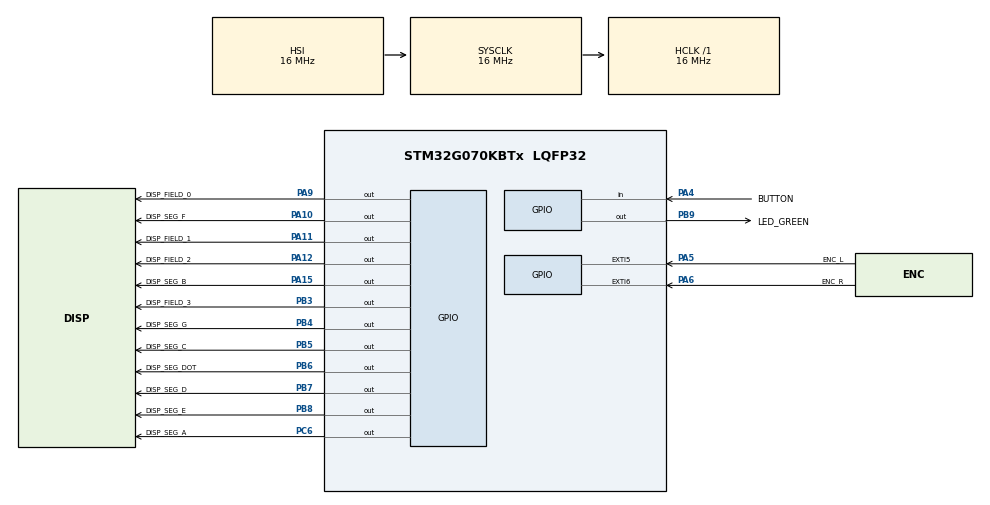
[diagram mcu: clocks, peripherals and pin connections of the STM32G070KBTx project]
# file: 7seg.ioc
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Mcu.Family=STM32G0
Mcu.Name=STM32G070KBTx
Mcu.Package=LQFP32
NVIC.EXTI4_15_IRQn=true\:0\:0\:true\:false\:true\:true\:true\:true
NVIC.TIM1_BRK_UP_TRG_COM_IRQn=true\:0\:0\:false\:false\:true\:true\:true\:true
NVIC.TIM1_CC_IRQn=true\:0\:0\:false\:false\:true\:true\:true\:true
PA10.GPIO_Label=DISP_SEG_F
PA10.Signal=GPIO_Output
PA11\ [PA9].GPIO_Label=DISP_FIELD_1
PA11\ [PA9].Signal=GPIO_Output
PA12\ [PA10].GPIO_Label=DISP_FIELD_2
PA12\ [PA10].Signal=GPIO_Output
PA13.Mode=Serial_Wire
PA13.Signal=SYS_SWDIO
PA14-BOOT0.Mode=Serial_Wire
PA14-BOOT0.Signal=SYS_SWCLK
PA15.GPIO_Label=DISP_SEG_B
PA15.Signal=GPIO_Output
PA4.GPIO_Label=BUTTON
PA4.GPIO_PuPd=GPIO_PULLUP
PA4.Signal=GPIO_Input
PA5.GPIO_Label=ENC_L
PA5.GPIO_ModeDefaultEXTI=GPIO_MODE_IT_RISING
PA5.GPIO_PuPd=GPIO_PULLUP
PA5.Signal=GPXTI5
PA6.GPIO_Label=ENC_R
PA6.GPIO_ModeDefaultEXTI=GPIO_MODE_IT_RISING
PA6.GPIO_PuPd=GPIO_PULLUP
PA6.Signal=GPXTI6
PA9.GPIO_Label=DISP_FIELD_0
PA9.Signal=GPIO_Output
PB3.GPIO_Label=DISP_FIELD_3
PB3.Signal=GPIO_Output
PB4.GPIO_Label=DISP_SEG_G
PB4.Signal=GPIO_Output
PB5.GPIO_Label=DISP_SEG_C
PB5.Signal=GPIO_Output
PB6.GPIO_Label=DISP_SEG_DOT
PB6.Signal=GPIO_Output
PB7.GPIO_Label=DISP_SEG_D
PB7.Signal=GPIO_Output
PB8.GPIO_Label=DISP_SEG_E
PB8.Signal=GPIO_Output
PB9.GPIO_Label=LED_GREEN
PB9.Signal=GPIO_Output
PC6.GPIO_Label=DISP_SEG_A
PC6.Signal=GPIO_Output
ProjectManager.HeapSize=0x200
ProjectManager.StackSize=0x400
ProjectManager.TargetToolchain=STM32CubeIDE
RCC.AHBFreq_Value=16000000
RCC.CortexFreq_Value=16000000
RCC.EXTERNAL_CLOCK_VALUE=48000
RCC.HCLKFreq_Value=16000000
RCC.HSE_VALUE=8000000
RCC.HSI_VALUE=16000000
RCC.LSE_VALUE=32768
RCC.SYSCLKFreq_VALUE=16000000
RCC.VCOOutputFreq_Value=128000000
TIM1.Period=1999
TIM1.Prescaler=40
VP_SYS_VS_DBSignals.Mode=DisableDeadBatterySignals
VP_TIM1_VS_ClockSourceINT.Mode=Internal
board=custom

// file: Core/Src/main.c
/* USER CODE BEGIN Header */
/**
 ******************************************************************************
 * @file           : main.c
 * @brief          : Main program body
 ******************************************************************************
 * @attention
 *
 * Copyright (c) 2022 STMicroelectronics.
 * All rights reserved.
 *
 * This software is licensed under terms that can be found in the LICENSE file
 * in the root directory of this software component.
 * If no LICENSE file comes with this software, it is provided AS-IS.
 *
 ******************************************************************************
 */
/* USER CODE END Header */
#include "main.h"

/* USER CODE BEGIN Includes */
#include "7seg.h"
/* USER CODE END Includes */

TIM_HandleTypeDef htim1;

/* USER CODE BEGIN PV */
//LED DISPLAY-Create Structure
LEDdisplayTypeDef disp1;

char text1[4] = { "151A" };
char text2[4] = { "HAL" };

//encoder counter
volatile uint16_t counter = 5000;
volatile uint8_t flagEncoderActive = 0;
/* USER CODE END PV */

void SystemClock_Config(void);
static void MX_GPIO_Init(void);
static void MX_TIM1_Init(void);

int main(void) {

	/* MCU Configuration--------------------------------------------------------*/

	/* Reset of all peripherals, Initializes the Flash interface and the Systick. */
	HAL_Init();

	/* Configure the system clock */
	SystemClock_Config();

	/* Initialize all configured peripherals */
	MX_GPIO_Init();
	MX_TIM1_Init();
	/* USER CODE BEGIN 2 */
	HAL_TIM_Base_Start_IT(&htim1);

	// LED DISPLAY- Pin assignment
	disp1.Field0Port = DISP_FIELD_0_GPIO_Port;
	disp1.Field0Pin = DISP_FIELD_0_Pin;
	disp1.Field1Port = DISP_FIELD_1_GPIO_Port;
	disp1.Field1Pin = DISP_FIELD_1_Pin;
	disp1.Field2Port = DISP_FIELD_2_GPIO_Port;
	disp1.Field2Pin = DISP_FIELD_2_Pin;
	disp1.Field3Port = DISP_FIELD_3_GPIO_Port;
	disp1.Field3Pin = DISP_FIELD_3_Pin;

	disp1.SegAPort = DISP_SEG_A_GPIO_Port;
	disp1.SegAPin = DISP_SEG_A_Pin;
	disp1.SegBPort = DISP_SEG_B_GPIO_Port;
	disp1.SegBPin = DISP_SEG_B_Pin;
	disp1.SegCPort = DISP_SEG_C_GPIO_Port;
	disp1.SegCPin = DISP_SEG_C_Pin;
	disp1.SegDPort = DISP_SEG_D_GPIO_Port;
	disp1.SegDPin = DISP_SEG_D_Pin;
	disp1.SegEPort = DISP_SEG_E_GPIO_Port;
	disp1.SegEPin = DISP_SEG_E_Pin;
	disp1.SegFPort = DISP_SEG_F_GPIO_Port;
	disp1.SegFPin = DISP_SEG_F_Pin;
	disp1.SegGPort = DISP_SEG_G_GPIO_Port;
	disp1.SegGPin = DISP_SEG_G_Pin;
	disp1.SegDOTPort = DISP_SEG_DOT_GPIO_Port;
	disp1.SegDOTPin = DISP_SEG_DOT_Pin;

	//set transition separator
	disp1.transitionSeparator[0] = '_';
	disp1.transitionSeparator[1] = '_';
	disp1.transitionSeparator[2] = '_';

	LEDinit(&disp1);

	/* USER CODE END 2 */

	/* Infinite loop */
	/* USER CODE BEGIN WHILE */
	while (1) {

		LEDchar(&disp1, 0, 'H');
		LEDchar(&disp1, 1, 'A');
		LEDchar(&disp1, 2, 'L');
		HAL_Delay(300);
		LEDclear(&disp1);

		LEDdot(&disp1, 0, DOT_ACTIVE);
		HAL_Delay(300);
		LEDdot(&disp1, 1, DOT_ACTIVE);
		HAL_Delay(300);
		LEDdot(&disp1, 2, DOT_ACTIVE);
		HAL_Delay(300);
		LEDdot(&disp1, 3, DOT_ACTIVE);
		HAL_Delay(300);
		LEDclear(&disp1);

		for (uint16_t i = 9000; i < 10000; i++) {
			LEDclear(&disp1);
			LEDint(&disp1, 0, i, LED_TRANSITION_DISABLED);
			HAL_Delay(1);
		}
		LEDclear(&disp1);

		LEDstr(&disp1, 0, "Err", LED_TRANSITION_DIR_LEFT);
		HAL_Delay(500);
		LEDstr(&disp1, 0, "LEd", LED_TRANSITION_DIR_RIGHT);
		HAL_Delay(500);

		LEDstr(&disp1, 0, "Err", LED_TRANSITION_DIR_LEFT);
		HAL_Delay(500);
		LEDstr(&disp1, 0, "LEd", LED_TRANSITION_DIR_RIGHT);
		HAL_Delay(500);

		LEDclear(&disp1);

		/* USER CODE END WHILE */

	}
}

void SystemClock_Config(void) {
	RCC_OscInitTypeDef RCC_OscInitStruct = { 0 };
	RCC_ClkInitTypeDef RCC_ClkInitStruct = { 0 };

	/** Configure the main internal regulator output voltage
	 */
	HAL_PWREx_ControlVoltageScaling(PWR_REGULATOR_VOLTAGE_SCALE1);
	/** Initializes the RCC Oscillators according to the specified parameters
	 * in the RCC_OscInitTypeDef structure.
	 */
	RCC_OscInitStruct.OscillatorType = RCC_OSCILLATORTYPE_HSI;
	RCC_OscInitStruct.HSIState = RCC_HSI_ON;
	RCC_OscInitStruct.HSIDiv = RCC_HSI_DIV1;
	RCC_OscInitStruct.HSICalibrationValue = RCC_HSICALIBRATION_DEFAULT;
	RCC_OscInitStruct.PLL.PLLState = RCC_PLL_NONE;
	if (HAL_RCC_OscConfig(&RCC_OscInitStruct) != HAL_OK) {
		Error_Handler();
	}
	/** Initializes the CPU, AHB and APB buses clocks
	 */
	RCC_ClkInitStruct.ClockType = RCC_CLOCKTYPE_HCLK | RCC_CLOCKTYPE_SYSCLK
			| RCC_CLOCKTYPE_PCLK1;
	RCC_ClkInitStruct.SYSCLKSource = RCC_SYSCLKSOURCE_HSI;
	RCC_ClkInitStruct.AHBCLKDivider = RCC_SYSCLK_DIV1;
	RCC_ClkInitStruct.APB1CLKDivider = RCC_HCLK_DIV1;

	if (HAL_RCC_ClockConfig(&RCC_ClkInitStruct, FLASH_LATENCY_0) != HAL_OK) {
		Error_Handler();
	}
}

static void MX_TIM1_Init(void) {

	TIM_ClockConfigTypeDef sClockSourceConfig = { 0 };
	TIM_MasterConfigTypeDef sMasterConfig = { 0 };

	htim1.Instance = TIM1;
	htim1.Init.Prescaler = 40;
	htim1.Init.CounterMode = TIM_COUNTERMODE_UP;
	htim1.Init.Period = 1999;
	htim1.Init.ClockDivision = TIM_CLOCKDIVISION_DIV1;
	htim1.Init.RepetitionCounter = 0;
	htim1.Init.AutoReloadPreload = TIM_AUTORELOAD_PRELOAD_DISABLE;
	if (HAL_TIM_Base_Init(&htim1) != HAL_OK) {
		Error_Handler();
	}
	sClockSourceConfig.ClockSource = TIM_CLOCKSOURCE_INTERNAL;
	if (HAL_TIM_ConfigClockSource(&htim1, &sClockSourceConfig) != HAL_OK) {
		Error_Handler();
	}
	sMasterConfig.MasterOutputTrigger = TIM_TRGO_RESET;
	sMasterConfig.MasterOutputTrigger2 = TIM_TRGO2_RESET;
	sMasterConfig.MasterSlaveMode = TIM_MASTERSLAVEMODE_DISABLE;
	if (HAL_TIMEx_MasterConfigSynchronization(&htim1, &sMasterConfig)
			!= HAL_OK) {
		Error_Handler();
	}

}

static void MX_GPIO_Init(void) {
	GPIO_InitTypeDef GPIO_InitStruct = { 0 };

	/* GPIO Ports Clock Enable */
	__HAL_RCC_GPIOB_CLK_ENABLE();
	__HAL_RCC_GPIOA_CLK_ENABLE();
	__HAL_RCC_GPIOC_CLK_ENABLE();

	/*Configure GPIO pin Output Level */
	HAL_GPIO_WritePin(GPIOB,
			LED_GREEN_Pin | DISP_FIELD_3_Pin | DISP_SEG_G_Pin | DISP_SEG_C_Pin
					| DISP_SEG_DOT_Pin | DISP_SEG_D_Pin | DISP_SEG_E_Pin,
			GPIO_PIN_RESET);

	/*Configure GPIO pin Output Level */
	HAL_GPIO_WritePin(GPIOA,
			DISP_FIELD_0_Pin | DISP_SEG_F_Pin | DISP_FIELD_1_Pin
					| DISP_FIELD_2_Pin | DISP_SEG_B_Pin, GPIO_PIN_RESET);

	/*Configure GPIO pin Output Level */
	HAL_GPIO_WritePin(DISP_SEG_A_GPIO_Port, DISP_SEG_A_Pin, GPIO_PIN_RESET);

	/*Configure GPIO pins : LED_GREEN_Pin DISP_FIELD_3_Pin DISP_SEG_G_Pin DISP_SEG_C_Pin
	 DISP_SEG_DOT_Pin DISP_SEG_D_Pin DISP_SEG_E_Pin */
	GPIO_InitStruct.Pin = LED_GREEN_Pin | DISP_FIELD_3_Pin | DISP_SEG_G_Pin
			| DISP_SEG_C_Pin | DISP_SEG_DOT_Pin | DISP_SEG_D_Pin
			| DISP_SEG_E_Pin;
	GPIO_InitStruct.Mode = GPIO_MODE_OUTPUT_PP;
	GPIO_InitStruct.Pull = GPIO_NOPULL;
	GPIO_InitStruct.Speed = GPIO_SPEED_FREQ_LOW;
	HAL_GPIO_Init(GPIOB, &GPIO_InitStruct);

	/*Configure GPIO pin : BUTTON_Pin */
	GPIO_InitStruct.Pin = BUTTON_Pin;
	GPIO_InitStruct.Mode = GPIO_MODE_INPUT;
	GPIO_InitStruct.Pull = GPIO_PULLUP;
	HAL_GPIO_Init(BUTTON_GPIO_Port, &GPIO_InitStruct);

	/*Configure GPIO pins : ENC_L_Pin ENC_R_Pin */
	GPIO_InitStruct.Pin = ENC_L_Pin | ENC_R_Pin;
	GPIO_InitStruct.Mode = GPIO_MODE_IT_RISING;
	GPIO_InitStruct.Pull = GPIO_PULLUP;
	HAL_GPIO_Init(GPIOA, &GPIO_InitStruct);

	/*Configure GPIO pins : DISP_FIELD_0_Pin DISP_SEG_F_Pin DISP_FIELD_1_Pin DISP_FIELD_2_Pin
	 DISP_SEG_B_Pin */
	GPIO_InitStruct.Pin = DISP_FIELD_0_Pin | DISP_SEG_F_Pin | DISP_FIELD_1_Pin
			| DISP_FIELD_2_Pin | DISP_SEG_B_Pin;
	GPIO_InitStruct.Mode = GPIO_MODE_OUTPUT_PP;
	GPIO_InitStruct.Pull = GPIO_NOPULL;
	GPIO_InitStruct.Speed = GPIO_SPEED_FREQ_LOW;
	HAL_GPIO_Init(GPIOA, &GPIO_InitStruct);

	/*Configure GPIO pin : DISP_SEG_A_Pin */
	GPIO_InitStruct.Pin = DISP_SEG_A_Pin;
	GPIO_InitStruct.Mode = GPIO_MODE_OUTPUT_PP;
	GPIO_InitStruct.Pull = GPIO_NOPULL;
	GPIO_InitStruct.Speed = GPIO_SPEED_FREQ_LOW;
	HAL_GPIO_Init(DISP_SEG_A_GPIO_Port, &GPIO_InitStruct);

	/* EXTI interrupt init*/
	HAL_NVIC_SetPriority(EXTI4_15_IRQn, 0, 0);
	HAL_NVIC_EnableIRQ(EXTI4_15_IRQn);

}

/* USER CODE BEGIN 4 */
void HAL_TIM_PeriodElapsedCallback(TIM_HandleTypeDef *htim) {

	if (htim->Instance == TIM1) {
		LEDmultiplexing(&disp1);
//		LEDmultiplexing(&disp2);
	}

}

void HAL_GPIO_EXTI_Rising_Callback(uint16_t GPIO_Pin) {

	flagEncoderActive = 1;
	if (GPIO_Pin == ENC_L_Pin) {
		if (HAL_GPIO_ReadPin(ENC_R_GPIO_Port, ENC_R_Pin)
				!= HAL_GPIO_ReadPin(ENC_L_GPIO_Port, ENC_L_Pin)) {

//			LEDstr(&disp1, 0, text1, LED_TRANSITION_DIR_LEFT);
			counter++;

		}
	}
	if (GPIO_Pin == ENC_R_Pin) {
		if (HAL_GPIO_ReadPin(ENC_R_GPIO_Port, ENC_R_Pin)
				!= HAL_GPIO_ReadPin(ENC_L_GPIO_Port, ENC_L_Pin)) {

//			LEDstr(&disp1, 0, text2, LED_TRANSITION_DIR_RIGHT);
			counter--;
		}
	}

}

/* USER CODE END 4 */

void Error_Handler(void) {
	__disable_irq();
	while (1) {
	}
}
